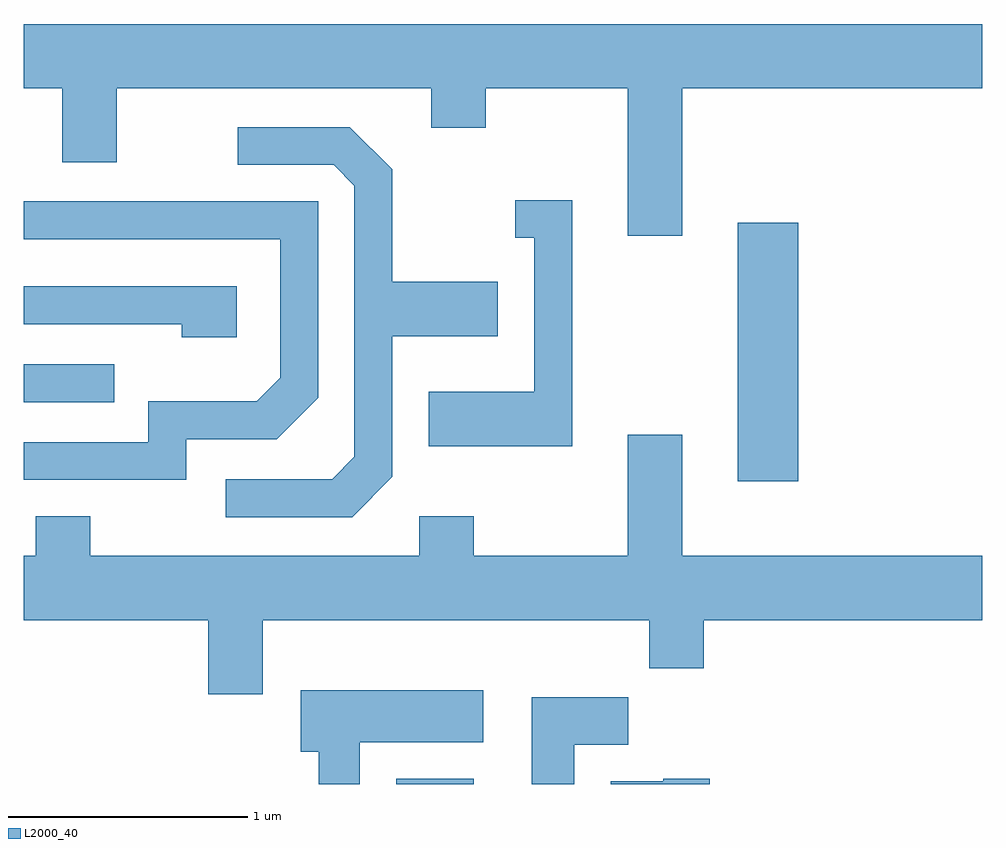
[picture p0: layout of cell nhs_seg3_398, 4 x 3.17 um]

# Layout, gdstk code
import gdstk
lib = gdstk.Library(unit=1e-6, precision=1e-09)
def R(c, l, rs):  # rectangles x0, y0, x1, y1
    for r in rs: c.add(gdstk.rectangle(r[:2], r[2:], *l))
def P(c, l, *ps):  # polygons
    for p in ps: c.add(gdstk.Polygon(p, *l))
L2000_40 = (2000, 40)

nhs_seg3_398 = lib.new_cell('nhs_seg3_398')
R(nhs_seg3_398, L2000_40, [(197.166,1231.892,197.489,1231.914), (198.591,1233.156,198.844,1234.234), (195.611,1233.486,195.988,1233.644)])
P(nhs_seg3_398, L2000_40, [(198.359,1234.796),(199.611,1234.796),(199.611,1235.064),(195.611,1235.064),(195.611,1234.796),(195.771,1234.796),(195.771,1234.486),(195.999,1234.486),(195.999,1234.796),(197.311,1234.796),(197.311,1234.631),(197.539,1234.631),(197.539,1234.796),(198.131,1234.796),(198.131,1234.181),(198.359,1234.181)],
  [(197.149,1233.174),(197.149,1233.761),(197.589,1233.761),(197.589,1233.989),(197.149,1233.989),(197.149,1234.457),(196.972,1234.634),(196.503,1234.634),(196.503,1234.476),(196.904,1234.476),(196.991,1234.389),(196.991,1233.257),(196.899,1233.164),(196.453,1233.164),(196.453,1233.006),(196.982,1233.006)],
  [(197.899,1234.329),(197.663,1234.329),(197.663,1234.171),(197.741,1234.171),(197.741,1233.529),(197.301,1233.529),(197.301,1233.301),(197.899,1233.301)],
  [(196.289,1233.331),(196.667,1233.331),(196.839,1233.504),(196.839,1234.324),(195.611,1234.324),(195.611,1234.166),(196.681,1234.166),(196.681,1233.587),(196.584,1233.489),(196.131,1233.489),(196.131,1233.319),(195.611,1233.319),(195.611,1233.161),(196.289,1233.161)],
  [(196.499,1233.969),(195.611,1233.969),(195.611,1233.811),(196.271,1233.811),(196.271,1233.756),(196.499,1233.756)],
  [(196.609,1232.576),(198.221,1232.576),(198.221,1232.376),(198.449,1232.376),(198.449,1232.576),(199.611,1232.576),(199.611,1232.844),(198.359,1232.844),(198.359,1233.349),(198.131,1233.349),(198.131,1232.844),(197.489,1232.844),(197.489,1233.009),(197.261,1233.009),(197.261,1232.844),(195.889,1232.844),(195.889,1233.009),(195.661,1233.009),(195.661,1232.844),(195.611,1232.844),(195.611,1232.576),(196.381,1232.576),(196.381,1232.266),(196.609,1232.266)],
  [(197.014,1232.066),(197.529,1232.066),(197.529,1232.284),(196.766,1232.284),(196.766,1232.026),(196.841,1232.026),(196.841,1231.892),(197.014,1231.892)],
  [(197.909,1232.056),(198.134,1232.056),(198.134,1232.254),(197.731,1232.254),(197.731,1231.892),(197.909,1231.892)],
  [(198.474,1231.914),(198.28,1231.914),(198.28,1231.904),(198.061,1231.904),(198.061,1231.892),(198.474,1231.892)])

lib.write_gds('nhs_seg3_398.gds')
